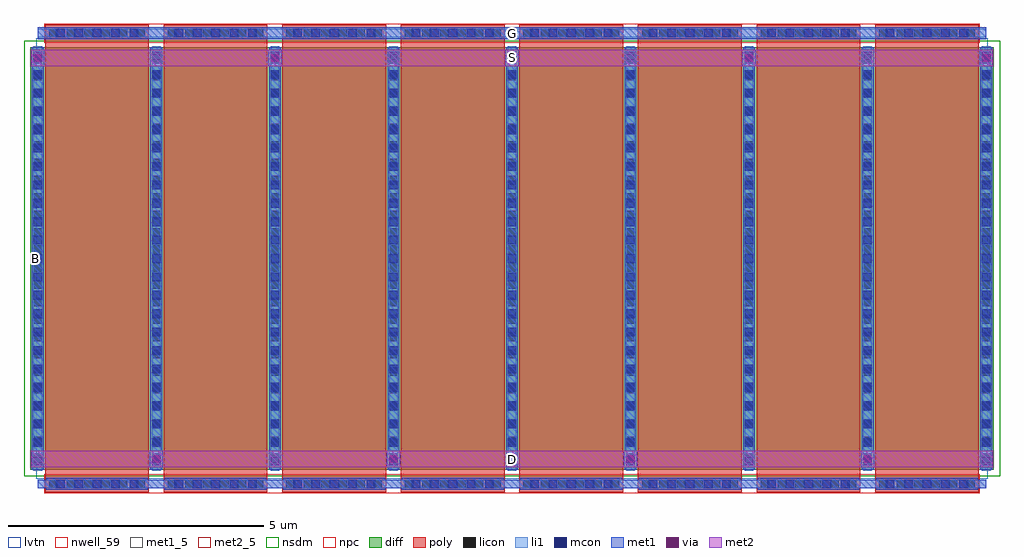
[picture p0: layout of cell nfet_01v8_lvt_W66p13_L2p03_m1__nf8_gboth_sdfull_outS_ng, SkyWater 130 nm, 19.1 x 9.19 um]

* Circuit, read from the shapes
.subckt nfet_01v8_lvt_W66p13_L2p03_m1__nf8_gboth_sdfull_outS_ng B D G S
XM1 D G S B sky130_fd_pr__nfet_01v8_lvt w=8.27 l=2.03 m=8
.ends

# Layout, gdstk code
import gdstk
lib = gdstk.Library(unit=1e-6, precision=1e-09)
def R(c, l, rs):  # rectangles x0, y0, x1, y1
    for r in rs: c.add(gdstk.rectangle(r[:2], r[2:], *l))
def A(c, l, x, y, w, h, nx, ny, dx, dy):  # array of equal rectangles
    R(c, l, [(x+i*dx, y+j*dy, x+i*dx+w, y+j*dy+h) for i in range(nx) for j in range(ny)])
nwell_59 = (64, 59)
diff = (65, 20)
poly = (66, 20)
licon = (66, 44)
li1 = (67, 20)
mcon = (67, 44)
met1_5 = (68, 5)
met1 = (68, 20)
via = (68, 44)
met2_5 = (69, 5)
met2 = (69, 20)
nsdm = (93, 44)
npc = (95, 20)
lvtn = (125, 44)

sky130_fd_pr__nfet_01v8_ = lib.new_cell('sky130_fd_pr__nfet_01v8_lvt_4LZ4RL')
R(sky130_fd_pr__nfet_01v8_, diff, [(-9.425,-4.135,9.425,4.135)])
A(sky130_fd_pr__nfet_01v8_, poly, -9.135, -4.575, 2.03, 9.15, 8, 1, 2.32, 0)
A(sky130_fd_pr__nfet_01v8_, licon, -9.055, -4.495, 0.17, 0.17, 6, 2, 0.34, 8.82)
A(sky130_fd_pr__nfet_01v8_, licon, -6.735, -4.495, 0.17, 0.17, 6, 2, 0.34, 8.82)
A(sky130_fd_pr__nfet_01v8_, licon, -4.415, -4.495, 0.17, 0.17, 6, 2, 0.34, 8.82)
A(sky130_fd_pr__nfet_01v8_, licon, -2.095, -4.495, 0.17, 0.17, 6, 2, 0.34, 8.82)
A(sky130_fd_pr__nfet_01v8_, licon, 0.225, -4.495, 0.17, 0.17, 6, 2, 0.34, 8.82)
A(sky130_fd_pr__nfet_01v8_, licon, 2.545, -4.495, 0.17, 0.17, 6, 2, 0.34, 8.82)
A(sky130_fd_pr__nfet_01v8_, licon, 4.865, -4.495, 0.17, 0.17, 6, 2, 0.34, 8.82)
A(sky130_fd_pr__nfet_01v8_, licon, 7.185, -4.495, 0.17, 0.17, 6, 2, 0.34, 8.82)
A(sky130_fd_pr__nfet_01v8_, licon, -9.365, -3.995, 0.17, 0.17, 9, 24, 2.32, 0.34)
A(sky130_fd_pr__nfet_01v8_, li1, -9.365, -4.155, 0.17, 8.31, 9, 1, 2.32, 0)
R(sky130_fd_pr__nfet_01v8_, li1, [(-9.28,-4.495,9.28,-4.325), (-9.28,4.325,9.28,4.495)])
A(sky130_fd_pr__nfet_01v8_, mcon, -8.925, -4.495, 0.17, 0.17, 5, 2, 0.36, 8.82)
A(sky130_fd_pr__nfet_01v8_, mcon, -6.605, -4.495, 0.17, 0.17, 5, 2, 0.36, 8.82)
A(sky130_fd_pr__nfet_01v8_, mcon, -4.285, -4.495, 0.17, 0.17, 5, 2, 0.36, 8.82)
A(sky130_fd_pr__nfet_01v8_, mcon, -1.965, -4.495, 0.17, 0.17, 5, 2, 0.36, 8.82)
A(sky130_fd_pr__nfet_01v8_, mcon, 0.355, -4.495, 0.17, 0.17, 5, 2, 0.36, 8.82)
A(sky130_fd_pr__nfet_01v8_, mcon, 2.675, -4.495, 0.17, 0.17, 5, 2, 0.36, 8.82)
A(sky130_fd_pr__nfet_01v8_, mcon, 4.995, -4.495, 0.17, 0.17, 5, 2, 0.36, 8.82)
A(sky130_fd_pr__nfet_01v8_, mcon, 7.315, -4.495, 0.17, 0.17, 5, 2, 0.36, 8.82)
A(sky130_fd_pr__nfet_01v8_, mcon, -9.365, -4.045, 0.17, 0.17, 9, 23, 2.32, 0.36)
A(sky130_fd_pr__nfet_01v8_, met1, -9.115, -4.525, 1.99, 0.03, 8, 2, 2.32, 0.2)
A(sky130_fd_pr__nfet_01v8_, met1, -9.395, -4.135, 0.23, 8.27, 9, 1, 2.32, 0)
A(sky130_fd_pr__nfet_01v8_, met1, -9.115, 4.295, 1.99, 0.03, 8, 2, 2.32, 0.2)
R(sky130_fd_pr__nfet_01v8_, met1, [(-9.28,-4.495,9.28,-4.325), (-9.28,4.325,9.28,4.495)])
R(sky130_fd_pr__nfet_01v8_, nsdm, [(-9.55,-4.26,9.55,4.26)])
R(sky130_fd_pr__nfet_01v8_, npc, [(-9.155,-4.595,9.155,-4.225), (-9.155,4.225,9.155,4.595)])
R(sky130_fd_pr__nfet_01v8_, lvtn, [(-9.315,-4.315,9.315,4.315)])
sky130_fd_pr__nfet_01v8_.add(gdstk.Label('D0', (-9.28,0), layer=67, texttype=5))
sky130_fd_pr__nfet_01v8_.add(gdstk.Label('G', (8.12,4.41), layer=67, texttype=5))
sky130_fd_pr__nfet_01v8_.add(gdstk.Label('G', (5.8,4.41), layer=67, texttype=5))
sky130_fd_pr__nfet_01v8_.add(gdstk.Label('G', (3.48,4.41), layer=67, texttype=5))
sky130_fd_pr__nfet_01v8_.add(gdstk.Label('G', (1.16,4.41), layer=67, texttype=5))
sky130_fd_pr__nfet_01v8_.add(gdstk.Label('G', (-1.16,4.41), layer=67, texttype=5))
sky130_fd_pr__nfet_01v8_.add(gdstk.Label('G', (-3.48,4.41), layer=67, texttype=5))
sky130_fd_pr__nfet_01v8_.add(gdstk.Label('G', (-5.8,4.41), layer=67, texttype=5))
sky130_fd_pr__nfet_01v8_.add(gdstk.Label('G', (-8.12,4.41), layer=67, texttype=5))
sky130_fd_pr__nfet_01v8_.add(gdstk.Label('S1', (-6.96,0), layer=67, texttype=5))
sky130_fd_pr__nfet_01v8_.add(gdstk.Label('D2', (-4.64,0), layer=67, texttype=5))
sky130_fd_pr__nfet_01v8_.add(gdstk.Label('S3', (-2.32,0), layer=67, texttype=5))
sky130_fd_pr__nfet_01v8_.add(gdstk.Label('D4', (0,0), layer=67, texttype=5))
sky130_fd_pr__nfet_01v8_.add(gdstk.Label('S5', (2.32,0), layer=67, texttype=5))
sky130_fd_pr__nfet_01v8_.add(gdstk.Label('D6', (4.64,0), layer=67, texttype=5))
sky130_fd_pr__nfet_01v8_.add(gdstk.Label('S7', (6.96,0), layer=67, texttype=5))

nfet_01v8_lvt_w66p13_l2p = lib.new_cell('nfet_01v8_lvt_W66p13_L2p03_m1__nf8_gboth_sdfull_outS_ng')
R(nfet_01v8_lvt_w66p13_l2p, nwell_59, [(0.05,4.525,0.15,4.625)])
R(nfet_01v8_lvt_w66p13_l2p, met1_5, [(0.145,8.87,18.705,9.1)])
A(nfet_01v8_lvt_w66p13_l2p, met1, 2.335, 0.49, 0.26, 0.32, 4, 1, 4.64, 0)
A(nfet_01v8_lvt_w66p13_l2p, met1, 0.015, 8.34, 0.26, 0.32, 5, 1, 4.64, 0)
R(nfet_01v8_lvt_w66p13_l2p, met1, [(0.145,8.87,18.705,9.1)])
A(nfet_01v8_lvt_w66p13_l2p, via, 2.39, 0.575, 0.15, 0.15, 4, 1, 4.64, 0)
A(nfet_01v8_lvt_w66p13_l2p, via, 0.07, 8.425, 0.15, 0.15, 5, 1, 4.64, 0)
R(nfet_01v8_lvt_w66p13_l2p, met2_5, [(0.01,0.49,18.84,0.81), (0.01,8.34,18.84,8.66)])
R(nfet_01v8_lvt_w66p13_l2p, met2, [(0.01,0.49,18.84,0.81), (0.01,8.34,18.84,8.66)])
nfet_01v8_lvt_w66p13_l2p.add(gdstk.Reference(sky130_fd_pr__nfet_01v8_, (9.425,4.575)))
nfet_01v8_lvt_w66p13_l2p.add(gdstk.Label('S', (9.425,8.5), layer=69, texttype=5))
nfet_01v8_lvt_w66p13_l2p.add(gdstk.Label('D', (9.425,0.65), layer=69, texttype=5))
nfet_01v8_lvt_w66p13_l2p.add(gdstk.Label('G', (9.425,8.985), layer=68, texttype=5))
nfet_01v8_lvt_w66p13_l2p.add(gdstk.Label('B', (0.1,4.575), layer=64, texttype=59))

lib.write_gds('nfet_01v8_lvt_W66p13_L2p03_m1__nf8_gboth_sdfull_outS_ng.gds')
